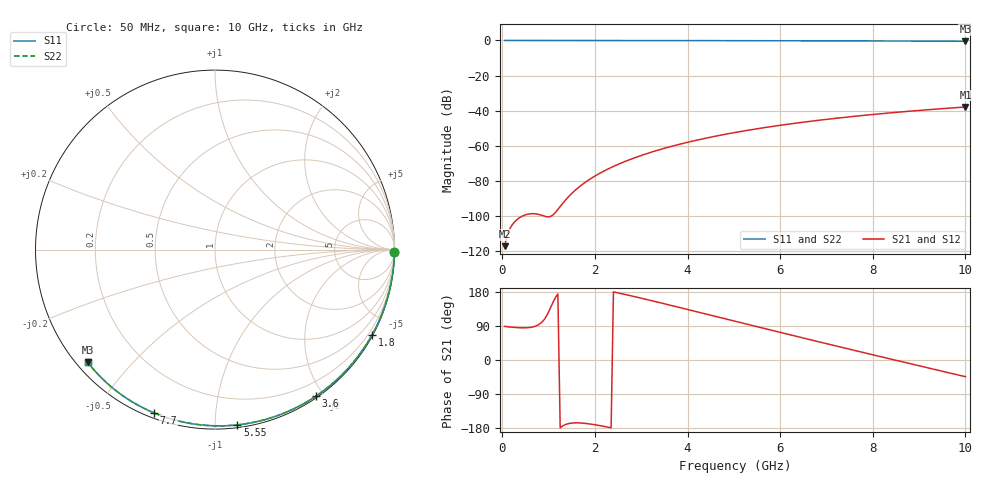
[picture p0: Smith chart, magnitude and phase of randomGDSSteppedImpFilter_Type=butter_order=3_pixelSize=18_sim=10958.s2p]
! freq	dB(S11)	phase(S11)	dB(S12)	phase(S12)
!  dB(S21)	phase(S21)	dB(S22)	phase(S22)
!S-par simulation data
#  GHz  S  DB  R 50
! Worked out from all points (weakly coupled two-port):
!   200 points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, 50 MHz to 10 GHz, reference 50 ohm
!   highest |S21| = -37.85 dB at 10 GHz (marker M1); lowest = -117.0 dB at 50 MHz (marker M2)
!   lowest |S11| = -0.5 dB at 10 GHz (marker M3), VSWR 36.90, Z = 1.55 - j18.9 ohm
!   |S11| at or under -10 dB: nowhere
!   |S22| runs from -0.5 to 0.0 dB; largest |S21 - S12| = 0
!   S11 on the Smith chart (normalised r, x): 50 MHz: open; 1.8 GHz: 0.03, -3.95; 3.6 GHz: 0.02, -1.90; 5.55 GHz: 0.02, -1.13; 7.7 GHz: 0.02, -0.69; 10 GHz: 0.03, -0.38
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0.05  -0.00 -0.8  -117.03 88.7  -117.03 88.7  -0.00 -0.8
0.45  -0.01 -7.2  -99.71 84.9  -99.71 84.9  -0.01 -7.2
0.9  -0.02 -14.3  -99.88 106.0  -99.88 106.0  -0.02 -14.3
1.75  -0.04 -27.6  -81.49 -166.8  -81.49 -166.8  -0.04 -27.6
1.8  -0.04 -28.4  -80.54 -167.4  -80.54 -167.4  -0.04 -28.4
1.85  -0.04 -29.2  -79.64 -168.1  -79.64 -168.1  -0.04 -29.2
2.05  -0.04 -32.3  -76.38 -171.9  -76.38 -171.9  -0.04 -32.3
2.25  -0.05 -35.3  -73.56 -176.5  -73.56 -176.5  -0.05 -35.3
2.55  -0.05 -39.9  -69.93 175.8  -69.93 175.8  -0.05 -39.9
2.95  -0.06 -45.9  -65.89 164.6  -65.89 164.6  -0.06 -45.9
3.4  -0.07 -52.5  -62.10 151.4  -62.10 151.4  -0.07 -52.5
3.6  -0.07 -55.5  -60.62 145.4  -60.62 145.4  -0.07 -55.5
3.9  -0.08 -59.8  -58.58 136.4  -58.58 136.4  -0.08 -59.8
4.3  -0.09 -65.5  -56.14 124.3  -56.14 124.3  -0.09 -65.5
5.05  -0.12 -76.0  -52.25 101.6  -52.25 101.6  -0.12 -76.0
5.55  -0.14 -82.8  -50.04 86.5  -50.04 86.5  -0.14 -82.8
6.1  -0.16 -90.1  -47.89 69.9  -47.89 69.9  -0.16 -90.1
6.7  -0.19 -97.9  -45.83 52.0  -45.83 52.0  -0.19 -97.9
7.7  -0.25 -110.5  -42.89 22.5  -42.89 22.5  -0.25 -110.5
8.35  -0.30 -118.5  -41.26 3.5  -41.26 3.5  -0.30 -118.5
9.2  -0.38 -128.8  -39.39 -21.0  -39.39 -21.0  -0.38 -128.8
10  -0.47 -138.5  -37.85 -44.0  -37.85 -44.0  -0.47 -138.5
